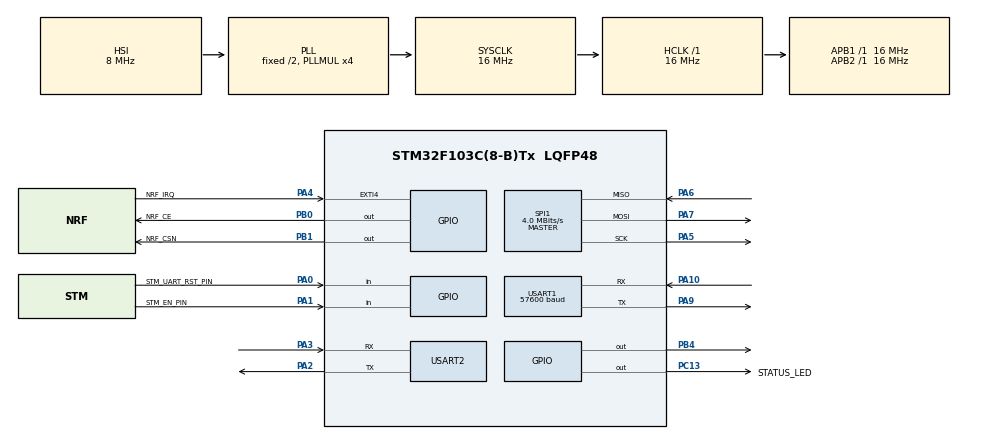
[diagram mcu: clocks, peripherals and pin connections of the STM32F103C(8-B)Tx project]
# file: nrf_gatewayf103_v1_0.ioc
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FREERTOS.Tasks01=defaultTask,8,256,StartDefaultTask,Default,NULL,Dynamic,NULL,NULL;getNodeData,10,256,StartTask02,Default,NULL,Dynamic,NULL,NULL;sendDataToESP,9,256,StartTask03,Default,NULL,Dynamic,NULL,NULL;hConfigData,11,256,configDataHandler,Default,NULL,Dynamic,NULL,NULL
FREERTOS.configTOTAL_HEAP_SIZE=8192
FREERTOS.configUSE_NEWLIB_REENTRANT=1
Mcu.Family=STM32F1
Mcu.Name=STM32F103C(8-B)Tx
Mcu.Package=LQFP48
NVIC.PriorityGroup=NVIC_PRIORITYGROUP_4
NVIC.TIM1_UP_IRQn=true\:15\:0\:false\:false\:true\:false\:false\:true\:true
NVIC.TIM2_IRQn=true\:7\:0\:true\:false\:true\:true\:true\:true\:true
NVIC.TimeBase=TIM1_UP_IRQn
NVIC.TimeBaseIP=TIM1
NVIC.USART1_IRQn=true\:5\:0\:true\:false\:true\:true\:true\:true\:true
NVIC.USART2_IRQn=true\:6\:0\:true\:false\:true\:true\:true\:true\:true
NimaLTD.I-CUBE-EE.3.2.1.DriverJjEE=true
PA0-WKUP.GPIO_Label=STM_UART_RST_PIN
PA0-WKUP.Signal=GPIO_Input
PA1.GPIO_Label=STM_EN_PIN
PA1.GPIO_PuPd=GPIO_NOPULL
PA1.Signal=GPIO_Input
PA10.GPIO_PuPd=GPIO_PULLUP
PA10.Mode=Asynchronous
PA10.Signal=USART1_RX
PA13.Mode=Serial_Wire
PA13.Signal=SYS_JTMS-SWDIO
PA14.Mode=Serial_Wire
PA14.Signal=SYS_JTCK-SWCLK
PA2.Mode=Asynchronous
PA2.Signal=USART2_TX
PA3.GPIO_PuPd=GPIO_PULLUP
PA3.Mode=Asynchronous
PA3.Signal=USART2_RX
PA4.GPIO_Label=NRF_IRQ
PA4.GPIO_ModeDefaultEXTI=GPIO_MODE_IT_FALLING
PA4.GPIO_PuPd=GPIO_PULLUP
PA4.Signal=GPXTI4
PA5.Mode=Full_Duplex_Master
PA5.Signal=SPI1_SCK
PA6.Mode=Full_Duplex_Master
PA6.Signal=SPI1_MISO
PA7.Mode=Full_Duplex_Master
PA7.Signal=SPI1_MOSI
PA9.Mode=Asynchronous
PA9.Signal=USART1_TX
PB0.GPIO_Label=NRF_CE
PB0.GPIO_Speed=GPIO_SPEED_FREQ_LOW
PB0.Signal=GPIO_Output
PB1.GPIO_Label=NRF_CSN
PB1.GPIO_Speed=GPIO_SPEED_FREQ_LOW
PB1.PinState=GPIO_PIN_SET
PB1.Signal=GPIO_Output
PB4.Signal=GPIO_Output
PC13-TAMPER-RTC.GPIO_Label=STATUS_LED
PC13-TAMPER-RTC.Signal=GPIO_Output
PC14-OSC32_IN.Mode=LSE-External-Oscillator
PC14-OSC32_IN.Signal=RCC_OSC32_IN
PC15-OSC32_OUT.Mode=LSE-External-Oscillator
PC15-OSC32_OUT.Signal=RCC_OSC32_OUT
PD0-OSC_IN.Mode=HSE-External-Oscillator
PD0-OSC_IN.Signal=RCC_OSC_IN
PD1-OSC_OUT.Mode=HSE-External-Oscillator
PD1-OSC_OUT.Signal=RCC_OSC_OUT
ProjectManager.HeapSize=0x200
ProjectManager.StackSize=0x400
ProjectManager.TargetToolchain=STM32CubeIDE
RCC.AHBFreq_Value=16000000
RCC.APB1Freq_Value=16000000
RCC.APB1TimFreq_Value=16000000
RCC.APB2Freq_Value=16000000
RCC.APB2TimFreq_Value=16000000
RCC.HCLKFreq_Value=16000000
RCC.PLLMUL=RCC_PLL_MUL4
RCC.SYSCLKFreq_VALUE=16000000
RCC.SYSCLKSource=RCC_SYSCLKSOURCE_PLLCLK
RCC.USBFreq_Value=16000000
SPI1.BaudRatePrescaler=SPI_BAUDRATEPRESCALER_4
SPI1.CalculateBaudRate=4.0 MBits/s
SPI1.Direction=SPI_DIRECTION_2LINES
SPI1.Mode=SPI_MODE_MASTER
SPI1.VirtualType=VM_MASTER
TIM2.Period=60000-1
TIM2.Prescaler=16000-1
USART1.BaudRate=57600
USART1.VirtualMode=VM_ASYNC
USART2.VirtualMode=VM_ASYNC
VP_FREERTOS_VS_CMSIS_V2.Mode=CMSIS_V2
VP_NimaLTD.I-CUBE-EE_VS_DriverJjEE_1.0.0_3.2.1.Mode=DriverJjEE
VP_SYS_VS_tim1.Mode=TIM1
VP_TIM2_VS_ClockSourceINT.Mode=Internal
board=custom

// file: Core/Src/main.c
/* USER CODE BEGIN Header */
/**
 ******************************************************************************
 * @file           : main.c
 * @brief          : Main program body
 ******************************************************************************
 * @attention
 *
 * Copyright (c) 2024 STMicroelectronics.
 * All rights reserved.
 *
 * This software is licensed under terms that can be found in the LICENSE file
 * in the root directory of this software component.
 * If no LICENSE file comes with this software, it is provided AS-IS.
 *
 ******************************************************************************
 */
/* USER CODE END Header */
#include "main.h"
#include "cmsis_os.h"
#include "spi.h"
#include "tim.h"
#include "usart.h"
#include "gpio.h"

/* USER CODE BEGIN Includes */
#include "nRF24l01P.h"
#include "nRF24_app.h"
#include "gateway_config.h"
#include "interrupts_app.h"
#include "ee.h"
#include "esp32_command.h"

/* USER CODE END Includes */

void SystemClock_Config(void);
void MX_FREERTOS_Init(void);

int main(void)
{

  /* MCU Configuration--------------------------------------------------------*/

  /* Reset of all peripherals, Initializes the Flash interface and the Systick. */
  HAL_Init();

  /* Configure the system clock */
  SystemClock_Config();

  /* Initialize all configured peripherals */
  MX_GPIO_Init();
  MX_SPI1_Init();
  MX_USART2_UART_Init();
  MX_USART1_UART_Init();
  MX_TIM2_Init();
  /* USER CODE BEGIN 2 */
	EE_Init(&gateway, sizeof(gateway));
	EE_Read();
	print_config();

	HAL_Delay(2000);
	//initialize the nrf24 in receive mode
	while(HAL_GPIO_ReadPin(STM_EN_PIN_GPIO_Port, STM_EN_PIN_Pin) == 0)
	{
		HAL_Delay(100);
	}
	HAL_Delay(1000);
	uint8_t ret_code = L01_Init(gateway.nrf24_config);
	if (ret_code != 0)
	{
		char tx_buff[50];
		uint16_t length = sprintf(tx_buff,
				"NRF24 not initialized, Reseting in 1 sec");
		HAL_UART_Transmit(&huart2, (uint8_t*) tx_buff, length, 100);
		HAL_Delay(1000);
		HAL_NVIC_SystemReset();
	}
	APP_SwitchToRx(gateway.nrf24_config.rx_pipe0_addr,
			gateway.nrf24_config.rx_pipe1_addr);

	printRadioSettings();
	start_UART_ITs();
	HAL_TIM_Base_Start_IT(&htim2);

  /* USER CODE END 2 */

  /* Init scheduler */
  osKernelInitialize();

  /* Call init function for freertos objects (in cmsis_os2.c) */
  MX_FREERTOS_Init();

  /* Start scheduler */
  osKernelStart();

  /* We should never get here as control is now taken by the scheduler */

  /* Infinite loop */
	while (1)
	{

	}
}

void SystemClock_Config(void)
{
  RCC_OscInitTypeDef RCC_OscInitStruct = {0};
  RCC_ClkInitTypeDef RCC_ClkInitStruct = {0};

  /** Initializes the RCC Oscillators according to the specified parameters
  * in the RCC_OscInitTypeDef structure.
  */
  RCC_OscInitStruct.OscillatorType = RCC_OSCILLATORTYPE_HSI;
  RCC_OscInitStruct.HSIState = RCC_HSI_ON;
  RCC_OscInitStruct.HSICalibrationValue = RCC_HSICALIBRATION_DEFAULT;
  RCC_OscInitStruct.PLL.PLLState = RCC_PLL_ON;
  RCC_OscInitStruct.PLL.PLLSource = RCC_PLLSOURCE_HSI_DIV2;
  RCC_OscInitStruct.PLL.PLLMUL = RCC_PLL_MUL4;
  if (HAL_RCC_OscConfig(&RCC_OscInitStruct) != HAL_OK)
  {
    Error_Handler();
  }

  /** Initializes the CPU, AHB and APB buses clocks
  */
  RCC_ClkInitStruct.ClockType = RCC_CLOCKTYPE_HCLK|RCC_CLOCKTYPE_SYSCLK
                              |RCC_CLOCKTYPE_PCLK1|RCC_CLOCKTYPE_PCLK2;
  RCC_ClkInitStruct.SYSCLKSource = RCC_SYSCLKSOURCE_PLLCLK;
  RCC_ClkInitStruct.AHBCLKDivider = RCC_SYSCLK_DIV1;
  RCC_ClkInitStruct.APB1CLKDivider = RCC_HCLK_DIV1;
  RCC_ClkInitStruct.APB2CLKDivider = RCC_HCLK_DIV1;

  if (HAL_RCC_ClockConfig(&RCC_ClkInitStruct, FLASH_LATENCY_0) != HAL_OK)
  {
    Error_Handler();
  }
}

//void HAL_TIM_PeriodElapsedCallback(TIM_HandleTypeDef *htim)
//{
//  /* USER CODE BEGIN Callback 0 */
////////////////
//  /* USER CODE END Callback 0 */
//  if (htim->Instance == TIM1) {
//    HAL_IncTick();
//  }
//  /* USER CODE BEGIN Callback 1 */
////////////////
//  /* USER CODE END Callback 1 */
//}

void Error_Handler(void)
{
  /* USER CODE BEGIN Error_Handler_Debug */
	/* User can add his own implementation to report the HAL error return state */
	char tx_buff[50];
	uint16_t length = sprintf(tx_buff,
			"Unexpected event resetting..");
	HAL_UART_Transmit(&huart2, (uint8_t*) tx_buff, length, 100);
	HAL_Delay(1000);
	__disable_irq();
	HAL_NVIC_SystemReset();
	while (1)
	{
	}
  /* USER CODE END Error_Handler_Debug */
}

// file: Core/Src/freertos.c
/* USER CODE BEGIN Header */
/**
 ******************************************************************************
 * File Name          : freertos.c
 * Description        : Code for freertos applications
 ******************************************************************************
 * @attention
 *
 * Copyright (c) 2024 STMicroelectronics.
 * All rights reserved.
 *
 * This software is licensed under terms that can be found in the LICENSE file
 * in the root directory of this software component.
 * If no LICENSE file comes with this software, it is provided AS-IS.
 *
 ******************************************************************************
 */
/* USER CODE END Header */

#include "FreeRTOS.h"
#include "task.h"
#include "main.h"
#include "cmsis_os.h"

/* USER CODE BEGIN Includes */
#include "nRF24l01P.h"
#include "nRF24_app.h"
#include "gateway_config.h"
#include "interrupts_app.h"
#include "ee.h"
#include "esp32_command.h"
#include "usart.h"
/* USER CODE END Includes */

/* Definitions for defaultTask */
osThreadId_t defaultTaskHandle;
const osThreadAttr_t defaultTask_attributes = { .name = "defaultTask",
		.stack_size = 256 * 4, .priority = (osPriority_t) osPriorityLow, };
/* Definitions for getNodeData */
osThreadId_t getNodeDataHandle;
const osThreadAttr_t getNodeData_attributes = { .name = "getNodeData",
		.stack_size = 256 * 4, .priority = (osPriority_t) osPriorityLow2, };
/* Definitions for sendDataToESP */
osThreadId_t sendDataToESPHandle;
const osThreadAttr_t sendDataToESP_attributes = { .name = "sendDataToESP",
		.stack_size = 256 * 4, .priority = (osPriority_t) osPriorityLow1, };
/* Definitions for hConfigData */
osThreadId_t hConfigDataHandle;
const osThreadAttr_t hConfigData_attributes = { .name = "hConfigData",
		.stack_size = 256 * 4, .priority = (osPriority_t) osPriorityLow3, };

void StartDefaultTask(void *argument);
void StartTask02(void *argument);
void StartTask03(void *argument);
void configDataHandler(void *argument);

void MX_FREERTOS_Init(void); /* (MISRA C 2004 rule 8.1) */

void MX_FREERTOS_Init(void) {

	/* Create the thread(s) */
	/* creation of defaultTask */
	defaultTaskHandle = osThreadNew(StartDefaultTask, NULL,
			&defaultTask_attributes);

	/* creation of getNodeData */
	getNodeDataHandle = osThreadNew(StartTask02, NULL, &getNodeData_attributes);

	/* creation of sendDataToESP */
	sendDataToESPHandle = osThreadNew(StartTask03, NULL,
			&sendDataToESP_attributes);

	/* creation of hConfigData */
	hConfigDataHandle = osThreadNew(configDataHandler, NULL,
			&hConfigData_attributes);

}

void StartDefaultTask(void *argument) {
	/* USER CODE BEGIN StartDefaultTask */
//    UBaseType_t uxHighWaterMarkdefault;
//    UBaseType_t uxHighWaterMarkgetnode;
//    UBaseType_t uxHighWaterMarksendtoesp;
//    UBaseType_t uxHighWaterMarkhconfig;
	/* Inspect our own high water mark on entering the task. */
//	uxHighWaterMarkdefault = uxTaskGetStackHighWaterMark( NULL );
//	uxHighWaterMarkgetnode = uxTaskGetStackHighWaterMark( getNodeDataHandle );
//	uxHighWaterMarksendtoesp = uxTaskGetStackHighWaterMark( sendDataToESPHandle );
//	uxHighWaterMarkhconfig = uxTaskGetStackHighWaterMark( defaultTaskHandle );
//	uint8_t tx_buff[40];
//	uint8_t len;
	/* Infinite loop */
	for (;;) {

//		uxHighWaterMarkdefault = uxTaskGetStackHighWaterMark( NULL );
//		len =sprintf((char*)tx_buff, "defaultTaskHandle: %lu\r\n", uxHighWaterMarkdefault);
//		HAL_UART_Transmit(&huart2, tx_buff, len, 10);
//		uxHighWaterMarkgetnode = uxTaskGetStackHighWaterMark( getNodeDataHandle );
//		len =sprintf((char*)tx_buff, "getNodeDataHandle: %lu\r\n", uxHighWaterMarkgetnode);
//		HAL_UART_Transmit(&huart2, tx_buff, len, 10);
//		uxHighWaterMarksendtoesp = uxTaskGetStackHighWaterMark( sendDataToESPHandle );
//		len =sprintf((char*)tx_buff, "sendDataToESPHandle: %lu\r\n", uxHighWaterMarksendtoesp);
//		HAL_UART_Transmit(&huart2, tx_buff, len, 10);
//		uxHighWaterMarkhconfig = uxTaskGetStackHighWaterMark( hConfigDataHandle );
//		len =sprintf((char*)tx_buff, "hConfigDataHandle: %lu\r\n", uxHighWaterMarkhconfig);
//		HAL_UART_Transmit(&huart2, tx_buff, len, 10);
		osDelay(10000);
	}
	/* USER CODE END StartDefaultTask */
}

void StartTask02(void *argument) {
	/* USER CODE BEGIN StartTask02 */
	for (;;) {
		// Loop through all nodes
		for (int i = 0; i < gateway.num_nodes; i++) {
			// Set packet read value based on ConfigReady
			node[i].tx_packet.read = node[i].ConfigReady ? 0x02 : 0x01;

			// 1. Transmit Data retry 3 times if not successful
			bool transmissionSuccessful = false;
			for (int attempt = 0; attempt < 1; attempt++) {
				nrfTxStatus ret = nRF24_transmit_data(&node[i].tx_packet, &gateway.node[i], i);

				if (ret != NRF_TX_DONE) {
					// Transmission failed; increase dead counter
					if (node[i].deadCounter < 250) {
						node[i].deadCounter++;
					} else {
						node[i].deadCounter = 10;  // Roll back to avoid false alive status
					}
				}

				if (node[i].tx_packet.txDone) {
					transmissionSuccessful = true;
					break;  // Exit loop if transmission succeeded
				}
				osDelay(20);  // Backoff delay before retry
			}

			// 2. Receive Data if Transmission was Successful
			if (transmissionSuccessful) {
				uint32_t rxStartTime = HAL_GetTick();
				while ((HAL_GetTick() - rxStartTime) < 100) {
					nrfRxStatus ret = nRF24_receive_data(&node[i], i);

					if (ret == NRF_RX_CONFIG || ret == NRF_RX_DATA) {
						// Reset dead counter if response received
						node[i].deadCounter = 0;
						node[i].tx_packet.rxDone = true;
						break;
					}
				}
			}

			// Update node's alive status based on deadCounter
			node[i].alive = (node[i].deadCounter <= 10);

			// Reset packet flags for next iteration
			node[i].tx_packet.txDone = false;
			node[i].tx_packet.rxDone = false;
			node[i].tx_packet.maxRT = false;
			osDelay(20);  // Delay to prevent node contention
		}

		// 3. Periodic Configuration Check if _timerTimeout is true
		if (_timerTimeout) {
			for (int i = 0; i < gateway.num_nodes; i++) {
				node[i].getConfigCounter++;
				if (node[i].getConfigCounter == 2) {
					node[i].getConfigCounter = 0;
					node[i].ConfigReady = false;
				}
			}
//			printRadioSettings();
//			printConfigReg();
//			printFIFOstatus();
//			printStatusReg();
			_timerTimeout = false;
		}

		// 4. Check for Reset Condition
		if (HAL_GPIO_ReadPin(STM_EN_PIN_GPIO_Port, STM_EN_PIN_Pin) == 0) {
			HAL_NVIC_SystemReset();
		}

		// 5. Perform Failure Check and Resolution for nRF24 Module
		nrf24FailureCheckAndResolve();

		// Main loop delay to allow system tasks to run
		osDelay(1000);
	}
	/* USER CODE END StartTask02 */
}

void StartTask03(void *argument) {
	/* USER CODE BEGIN StartTask03 */
	int i = 0;
	/* Infinite loop */
	for (;;) {
		if (HAL_GPIO_ReadPin(STM_EN_PIN_GPIO_Port, STM_EN_PIN_Pin)) //perform this if STM_EN is HIGH
				{
			osDelay(12000);
			if (i > 9)
				i = 0;
			sendToESP32(&node[i], i);
			i++;
		}
	}
	/* USER CODE END StartTask03 */
}

void configDataHandler(void *argument) {
	/* USER CODE BEGIN configDataHandler */
	/* Infinite loop */
	for (;;) {
		update_config();
		process_command();
		//check the STM_UART_RST_PIN and reset if HIGH, this is controlled by the ESP32
		if (HAL_GPIO_ReadPin(STM_UART_RST_PIN_GPIO_Port,
				STM_UART_RST_PIN_Pin)) {
			char tx_buff[50];
			uint8_t length = sprintf(tx_buff, "Restarting UART\r\n");
			HAL_UART_Transmit(&huart1, (uint8_t*) tx_buff, length, 10);

			HAL_UART_DeInit(&huart1);
			MX_USART1_UART_Init();
			start_UART_ITs();
		}
		osDelay(10);
	}
	/* USER CODE END configDataHandler */
}
